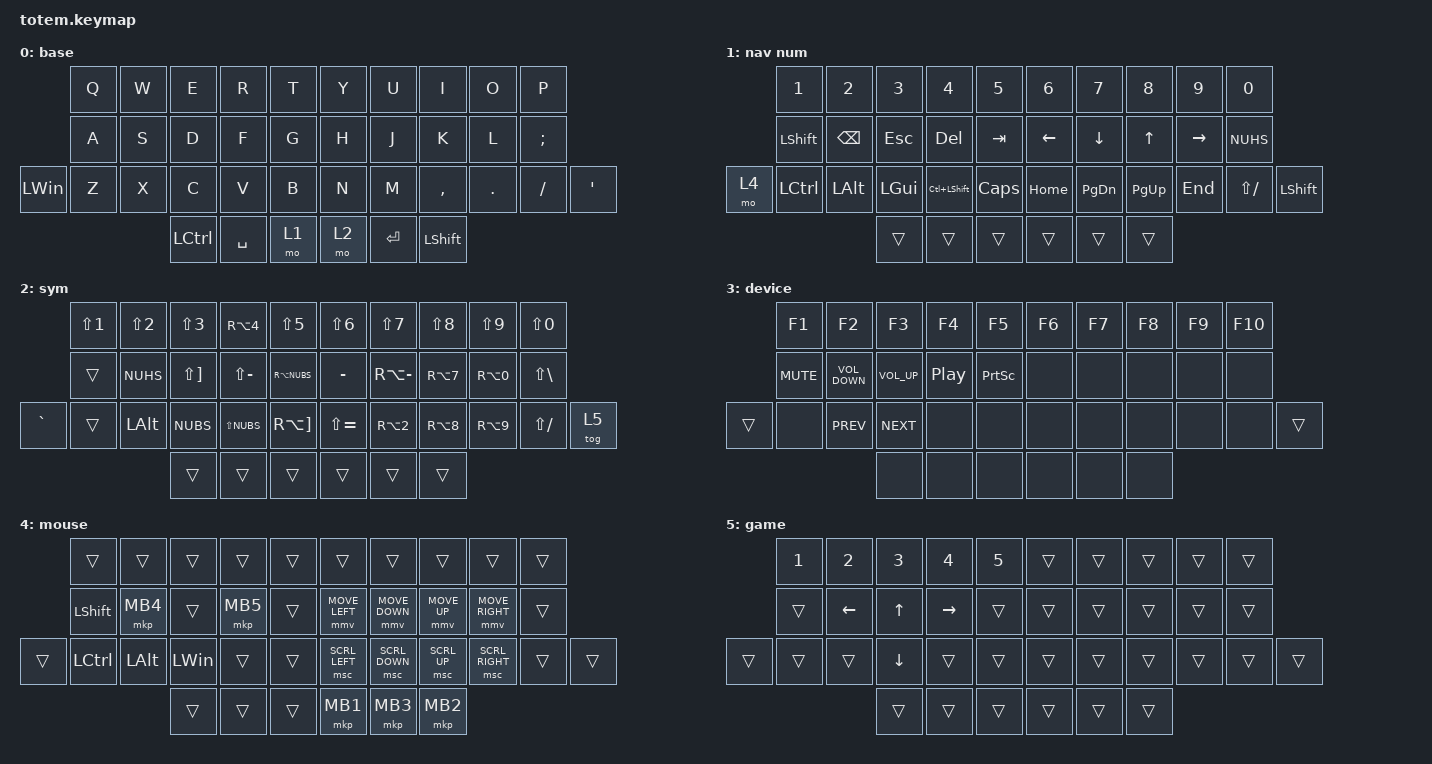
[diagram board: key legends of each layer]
//
//                                                        ▀▀▀▀▀     ▀▀▀▀▀          ▀▀█▀▀
//                                                        ▄▀▀▀▄  ▄  ▄▀▀▀▄  ▄  ▄▀▀▀▄  █  ▄▀▀▀▄
//                                                        █   █  █  █   █  █  █   █  █  █   █
//                                                         ▀▀▀   █   ▀▀▀   █   ▀▀▀   ▀   ▀▀▀
//                                                               █      ▄▄▄█▄▄▄    █   █  
//                                                               ▀      █  █  █     █▄█
//                                                             ▀▀▀▀▀    █  █  █      ▀
//                                                                      ▀  ▀  ▀
//
// ▄▄▄▄▄▄▄▄▄▄▄▄▄▄▄▄▄▄▄▄▄▄▄▄▄▄▄▄▄▄▄▄▄▄▄▄▄▄▄▄▄▄▄▄▄▄▄▄▄▄▄▄▄▄▄▄▄▄▄▄▄▄▄▄▄▄▄▄▄▄▄▄▄▄▄▄▄▄▄▄▄▄▄▄▄▄▄▄▄▄▄▄▄▄▄▄▄▄▄▄▄▄▄▄▄▄▄▄▄▄▄▄▄▄▄▄▄▄▄▄▄▄▄▄▄▄▄▄▄▄▄▄▄▄▄▄▄▄▄▄▄▄▄▄▄▄▄▄▄

#include <behaviors.dtsi>
#include <dt-bindings/zmk/keys.h>
#include <dt-bindings/zmk/pointing.h>

/ {
    keymap {
        compatible = "zmk,keymap";

        base {
            display-name = "base";
            bindings = <
              &kp Q  &kp W  &kp E      &kp R      &kp T    &kp Y  &kp U      &kp I           &kp O    &kp P
              &kp A  &kp S  &kp D      &kp F      &kp G    &kp H  &kp J      &kp K           &kp L    &kp SEMI
&kp LEFT_WIN  &kp Z  &kp X  &kp C      &kp V      &kp B    &kp N  &kp M      &kp COMMA       &kp DOT  &kp FSLH  &kp APOS
                            &kp LCTRL  &kp SPACE  &mo 1    &mo 2  &kp ENTER  &kp LEFT_SHIFT
            >;
        };

        nav_num {
            display-name = "nav num";
            bindings = <
       &kp NUMBER_1    &kp NUMBER_2   &kp NUMBER_3  &kp NUMBER_4        &kp N5          &kp NUMBER_6  &kp N7         &kp N8        &kp N9     &kp N0
       &kp LEFT_SHIFT  &kp BACKSPACE  &kp ESCAPE    &kp DEL             &kp TAB         &kp LEFT      &kp DOWN       &kp UP_ARROW  &kp RIGHT  &kp NUHS
&mo 4  &kp LCTRL       &kp LEFT_ALT   &kp LEFT_GUI  &kp LC(LEFT_SHIFT)  &kp CAPSLOCK    &kp HOME      &kp PAGE_DOWN  &kp PAGE_UP   &kp END    &kp LS(FSLH)  &kp LEFT_SHIFT
                                      &trans        &trans              &trans          &trans        &trans         &trans
            >;
        };

        sym_func {
            display-name = "sym";
            bindings = <
           &kp LS(NUMBER_1)  &kp LS(NUMBER_2)  &kp LS(NUMBER_3)       &kp RA(NUMBER_4)  &kp LS(N5)               &kp LS(NUMBER_6)  &kp LS(N7)        &kp LS(N8)  &kp LS(N9)  &kp LS(N0)
           &trans            &kp NUHS          &kp LS(RIGHT_BRACKET)  &kp LS(MINUS)     &kp RA(NUBS)             &kp MINUS         &kp RA(MINUS)     &kp RA(N7)  &kp RA(N0)  &kp LS(BACKSLASH)
&kp GRAVE  &trans            &kp LEFT_ALT      &kp NUBS               &kp LS(NUBS)      &kp RA(RIGHT_BRACKET)    &kp LS(EQUAL)     &kp RA(NUMBER_2)  &kp RA(N8)  &kp RA(N9)  &kp LS(SLASH)      &tog 5
                                               &trans                 &trans            &trans                   &trans            &trans            &trans
            >;
        };

        device {
            display-name = "device";
            bindings = <
        &kp F1      &kp F2             &kp F3           &kp F4            &kp F5             &kp F6  &kp F7  &kp F8  &kp F9  &kp F10
        &kp K_MUTE  &kp C_VOLUME_DOWN  &kp C_VOLUME_UP  &kp C_PLAY_PAUSE  &kp PRINTSCREEN    &none   &none   &none   &none   &none
&trans  &none       &kp C_PREV         &kp C_NEXT       &none             &none              &none   &none   &none   &none   &none    &trans
                                       &none            &none             &none              &none   &none   &none
            >;
        };

        mouse {
            display-name = "mouse";
            bindings = <
        &trans          &trans        &trans        &trans    &trans    &trans          &trans          &trans        &trans           &trans
        &kp LEFT_SHIFT  &mkp MB4      &trans        &mkp MB5  &trans    &mmv MOVE_LEFT  &mmv MOVE_DOWN  &mmv MOVE_UP  &mmv MOVE_RIGHT  &trans
&trans  &kp LCTRL       &kp LEFT_ALT  &kp LEFT_WIN  &trans    &trans    &msc SCRL_LEFT  &msc SCRL_DOWN  &msc SCRL_UP  &msc SCRL_RIGHT  &trans  &trans
                                      &trans        &trans    &trans    &mkp MB1        &mkp MB3        &mkp MB2
            >;
        };

        game {
            bindings = <
        &kp NUMBER_1  &kp N2    &kp N3        &kp N4     &kp N5    &trans  &trans  &trans  &trans  &trans
        &trans        &kp LEFT  &kp UP_ARROW  &kp RIGHT  &trans    &trans  &trans  &trans  &trans  &trans
&trans  &trans        &trans    &kp DOWN      &trans     &trans    &trans  &trans  &trans  &trans  &trans  &trans
                                &trans        &trans     &trans    &trans  &trans  &trans
            >;

            label = "game";
        };
    };

    conditional_layers {
        compatible = "zmk,conditional-layers";

        device {
            if-layers = <1 2>;
            then-layer = <3>;
        };
    };
};
